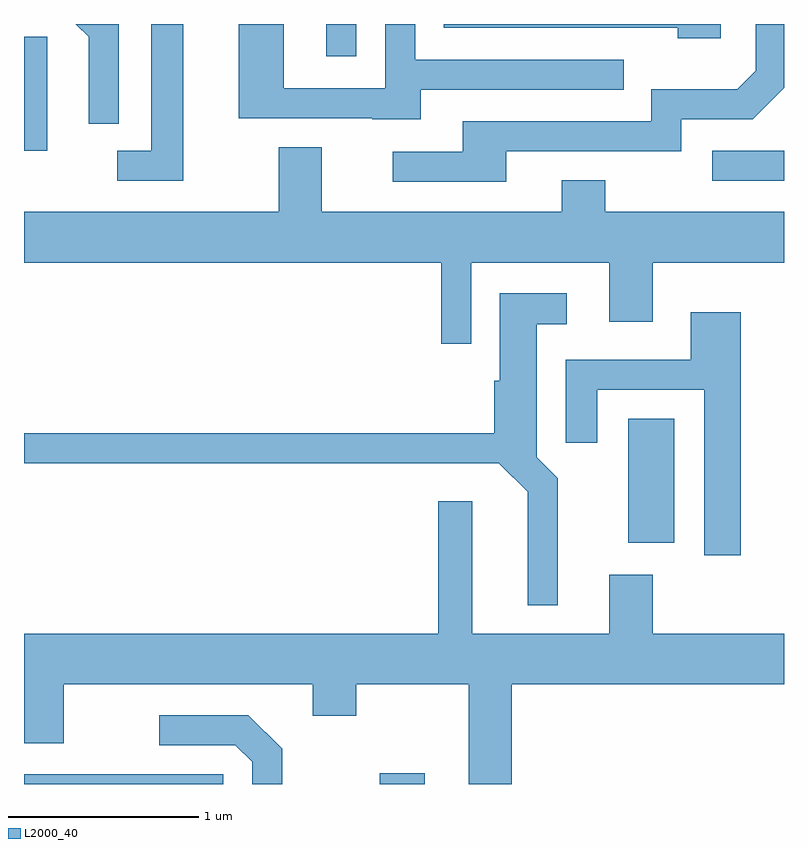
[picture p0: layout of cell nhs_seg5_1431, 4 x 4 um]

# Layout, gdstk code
import gdstk
lib = gdstk.Library(unit=1e-6, precision=1e-09)
def R(c, l, rs):  # rectangles x0, y0, x1, y1
    for r in rs: c.add(gdstk.rectangle(r[:2], r[2:], *l))
def P(c, l, *ps):  # polygons
    for p in ps: c.add(gdstk.Polygon(p, *l))
L2000_40 = (2000, 40)

nhs_seg5_1431 = lib.new_cell('nhs_seg5_1431')
R(nhs_seg5_1431, L2000_40, [(227.611,1434.072,228.659,1434.124), (229.483,1434.072,229.719,1434.129), (230.791,1435.341,231.034,1435.994), (231.233,1437.246,231.611,1437.404), (227.611,1437.406,227.734,1438.004), (229.201,1437.903,229.359,1438.072)])
P(nhs_seg5_1431, L2000_40, [(230.149,1437.401),(231.069,1437.401),(231.069,1437.571),(231.447,1437.571),(231.611,1437.736),(231.611,1438.072),(231.461,1438.072),(231.461,1437.827),(231.364,1437.729),(230.911,1437.729),(230.911,1437.559),(229.921,1437.559),(229.921,1437.399),(229.553,1437.399),(229.553,1437.241),(230.149,1437.241)],
  [(231.279,1438.072),(229.821,1438.072),(229.821,1438.051),(231.051,1438.051),(231.051,1437.996),(231.279,1437.996)],
  [(228.109,1438.072),(227.883,1438.072),(227.951,1438.004),(227.951,1437.548),(228.109,1437.548)],
  [(228.449,1438.072),(228.281,1438.072),(228.281,1437.404),(228.103,1437.404),(228.103,1437.246),(228.449,1437.246)],
  [(229.699,1437.726),(230.768,1437.726),(230.768,1437.884),(229.669,1437.884),(229.669,1438.072),(229.511,1438.072),(229.511,1437.734),(228.979,1437.734),(228.979,1438.072),(228.741,1438.072),(228.741,1437.576),(229.445,1437.576),(229.445,1437.571),(229.699,1437.571)],
  [(229.964,1436.816),(230.691,1436.816),(230.691,1436.506),(230.919,1436.506),(230.919,1436.816),(231.611,1436.816),(231.611,1437.084),(230.669,1437.084),(230.669,1437.249),(230.441,1437.249),(230.441,1437.084),(229.179,1437.084),(229.179,1437.424),(228.951,1437.424),(228.951,1437.084),(227.611,1437.084),(227.611,1436.816),(229.806,1436.816),(229.806,1436.388),(229.964,1436.388)],
  [(230.419,1435.682),(230.309,1435.792),(230.309,1436.491),(230.468,1436.491),(230.468,1436.654),(230.116,1436.654),(230.116,1436.194),(230.086,1436.194),(230.086,1435.919),(227.611,1435.919),(227.611,1435.761),(230.109,1435.761),(230.261,1435.609),(230.261,1435.013),(230.419,1435.013)],
  [(231.384,1436.554),(231.121,1436.554),(231.121,1436.304),(230.461,1436.304),(230.461,1435.868),(230.629,1435.868),(230.629,1436.146),(231.191,1436.146),(231.191,1435.276),(231.384,1435.276)],
  [(230.179,1434.596),(231.611,1434.596),(231.611,1434.864),(230.919,1434.864),(230.919,1435.174),(230.691,1435.174),(230.691,1434.864),(229.969,1434.864),(229.969,1435.559),(229.791,1435.559),(229.791,1434.864),(227.611,1434.864),(227.611,1434.286),(227.819,1434.286),(227.819,1434.596),(229.131,1434.596),(229.131,1434.431),(229.359,1434.431),(229.359,1434.596),(229.951,1434.596),(229.951,1434.072),(230.179,1434.072)],
  [(228.969,1434.257),(228.792,1434.434),(228.323,1434.434),(228.323,1434.276),(228.724,1434.276),(228.811,1434.189),(228.811,1434.072),(228.969,1434.072)])

lib.write_gds('nhs_seg5_1431.gds')
